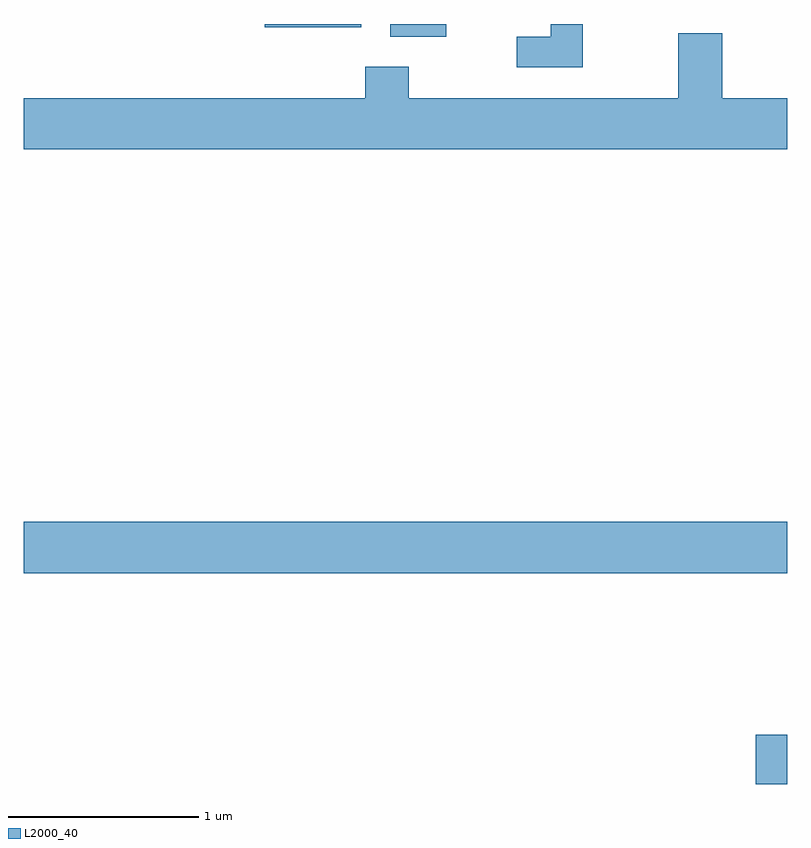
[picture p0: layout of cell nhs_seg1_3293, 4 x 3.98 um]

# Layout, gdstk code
import gdstk
lib = gdstk.Library(unit=1e-6, precision=1e-09)
def R(c, l, rs):  # rectangles x0, y0, x1, y1
    for r in rs: c.add(gdstk.rectangle(r[:2], r[2:], *l))
def P(c, l, *ps):  # polygons
    for p in ps: c.add(gdstk.Polygon(p, *l))
L2000_40 = (2000, 40)

nhs_seg1_3293 = lib.new_cell('nhs_seg1_3293')
R(nhs_seg1_3293, L2000_40, [(287.446,971.731,287.611,971.989), (283.611,972.836,287.611,973.104), (285.531,975.646,285.824,975.712), (284.873,975.696,285.379,975.712)])
P(nhs_seg1_3293, L2000_40, [(286.539,975.712),(286.371,975.712),(286.371,975.644),(286.193,975.644),(286.193,975.486),(286.539,975.486)],
  [(287.611,975.324),(287.269,975.324),(287.269,975.664),(287.041,975.664),(287.041,975.324),(285.629,975.324),(285.629,975.489),(285.401,975.489),(285.401,975.324),(283.611,975.324),(283.611,975.056),(287.611,975.056)])

lib.write_gds('nhs_seg1_3293.gds')
